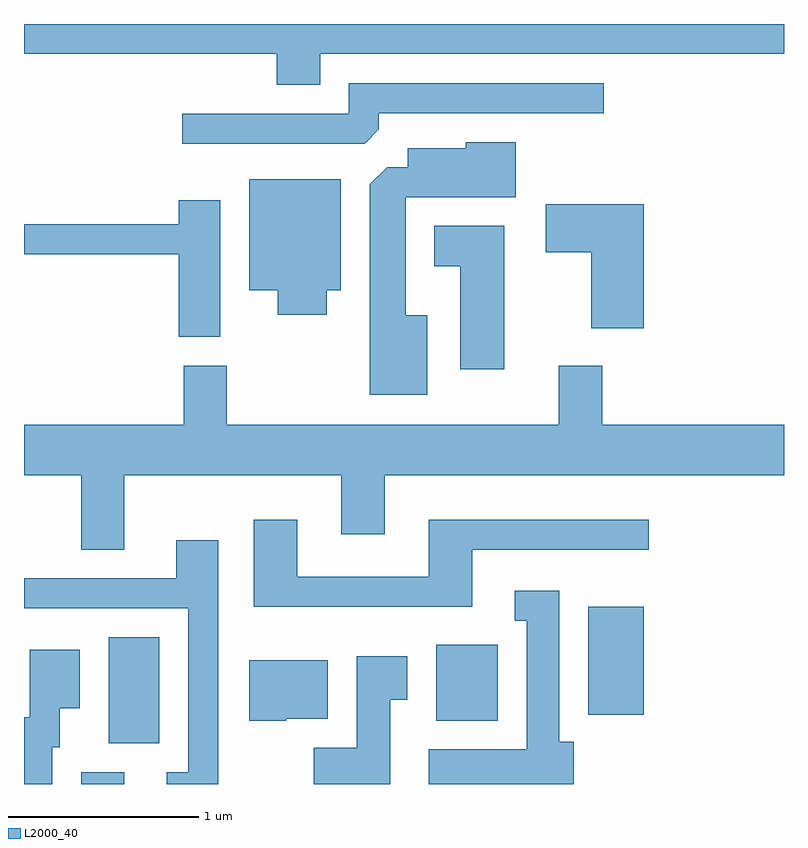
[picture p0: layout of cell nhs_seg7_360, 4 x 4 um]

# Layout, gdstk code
import gdstk
lib = gdstk.Library(unit=1e-6, precision=1e-09)
def R(c, l, rs):  # rectangles x0, y0, x1, y1
    for r in rs: c.add(gdstk.rectangle(r[:2], r[2:], *l))
def P(c, l, *ps):  # polygons
    for p in ps: c.add(gdstk.Polygon(p, *l))
L2000_40 = (2000, 40)

nhs_seg7_360 = lib.new_cell('nhs_seg7_360')
R(nhs_seg7_360, L2000_40, [(195.911,1708.252,196.139,1708.314), (196.056,1708.466,196.324,1709.024), (197.781,1708.586,198.104,1708.984), (198.581,1708.616,198.874,1709.184)])
P(nhs_seg7_360, L2000_40, [(197.169,1712.096),(199.611,1712.096),(199.611,1712.252),(195.611,1712.252),(195.611,1712.096),(196.941,1712.096),(196.941,1711.931),(197.169,1711.931)],
  [(197.479,1711.697),(197.479,1711.781),(198.663,1711.781),(198.663,1711.939),(197.321,1711.939),(197.321,1711.779),(196.443,1711.779),(196.443,1711.621),(197.404,1711.621)],
  [(197.734,1710.719),(197.619,1710.719),(197.619,1711.341),(198.199,1711.341),(198.199,1711.629),(197.936,1711.629),(197.936,1711.599),(197.631,1711.599),(197.631,1711.499),(197.522,1711.499),(197.431,1711.409),(197.431,1710.301),(197.734,1710.301)],
  [(197.204,1710.851),(197.279,1710.851),(197.279,1711.434),(196.796,1711.434),(196.796,1710.851),(196.946,1710.851),(196.946,1710.721),(197.204,1710.721)],
  [(196.644,1711.324),(196.426,1711.324),(196.426,1711.199),(195.611,1711.199),(195.611,1711.041),(196.426,1711.041),(196.426,1710.606),(196.644,1710.606)],
  [(198.874,1711.304),(198.356,1711.304),(198.356,1711.051),(198.596,1711.051),(198.596,1710.651),(198.874,1710.651)],
  [(198.139,1711.189),(197.771,1711.189),(197.771,1710.976),(197.906,1710.976),(197.906,1710.436),(198.139,1710.436)],
  [(196.139,1709.876),(197.281,1709.876),(197.281,1709.566),(197.509,1709.566),(197.509,1709.876),(199.611,1709.876),(199.611,1710.144),(198.654,1710.144),(198.654,1710.454),(198.426,1710.454),(198.426,1710.144),(196.679,1710.144),(196.679,1710.454),(196.451,1710.454),(196.451,1710.144),(195.611,1710.144),(195.611,1709.876),(195.911,1709.876),(195.911,1709.486),(196.139,1709.486)],
  [(197.969,1709.486),(198.898,1709.486),(198.898,1709.644),(197.741,1709.644),(197.741,1709.344),(197.049,1709.344),(197.049,1709.644),(196.821,1709.644),(196.821,1709.186),(197.969,1709.186)],
  [(196.634,1709.534),(196.411,1709.534),(196.411,1709.334),(195.611,1709.334),(195.611,1709.176),(196.476,1709.176),(196.476,1708.314),(196.363,1708.314),(196.363,1708.252),(196.634,1708.252)],
  [(198.504,1708.474),(198.429,1708.474),(198.429,1709.269),(198.193,1709.269),(198.193,1709.111),(198.256,1709.111),(198.256,1708.434),(197.741,1708.434),(197.741,1708.252),(198.504,1708.252)],
  [(195.759,1708.446),(195.799,1708.446),(195.799,1708.651),(195.904,1708.651),(195.904,1708.959),(195.641,1708.959),(195.641,1708.604),(195.611,1708.604),(195.611,1708.252),(195.759,1708.252)],
  [(197.539,1708.696),(197.629,1708.696),(197.629,1708.924),(197.361,1708.924),(197.361,1708.444),(197.136,1708.444),(197.136,1708.252),(197.539,1708.252)],
  [(196.99,1708.596),(197.209,1708.596),(197.209,1708.904),(196.796,1708.904),(196.796,1708.586),(196.99,1708.586)])

lib.write_gds('nhs_seg7_360.gds')
